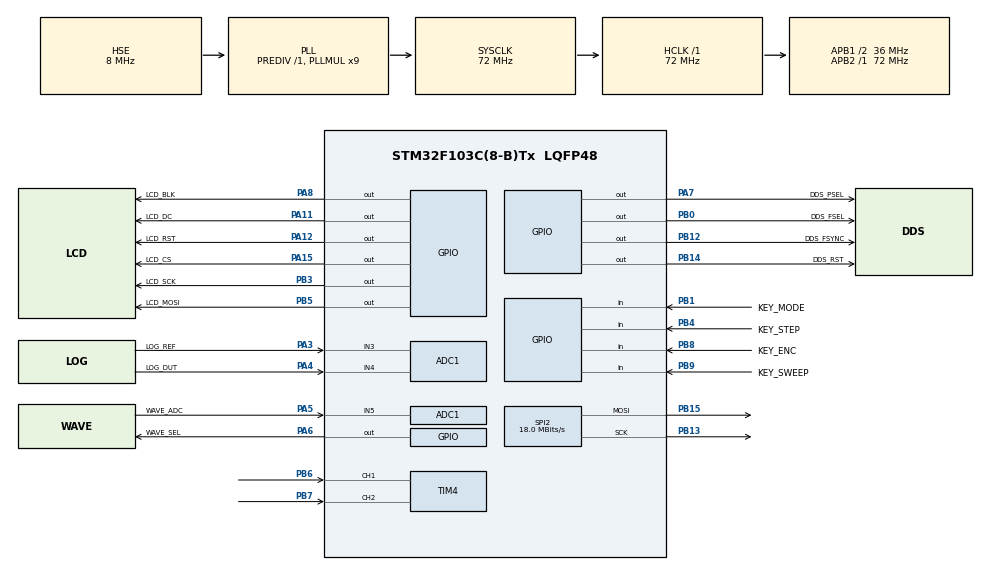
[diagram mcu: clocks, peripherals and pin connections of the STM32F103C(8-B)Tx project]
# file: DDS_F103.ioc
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ADC1.Channel-0\#ChannelRegularConversion=ADC_CHANNEL_3
ADC1.Channel-1\#ChannelRegularConversion=ADC_CHANNEL_4
ADC1.Channel-2\#ChannelRegularConversion=ADC_CHANNEL_5
ADC1.ContinuousConvMode=ENABLE
ADC1.DataAlign=ADC_DATAALIGN_RIGHT
ADC1.NbrOfConversion=3
ADC1.NbrOfConversionFlag=1
ADC1.Rank-0\#ChannelRegularConversion=1
ADC1.Rank-1\#ChannelRegularConversion=2
ADC1.Rank-2\#ChannelRegularConversion=3
ADC1.SamplingTime-0\#ChannelRegularConversion=ADC_SAMPLETIME_71CYCLES_5
ADC1.SamplingTime-1\#ChannelRegularConversion=ADC_SAMPLETIME_71CYCLES_5
ADC1.SamplingTime-2\#ChannelRegularConversion=ADC_SAMPLETIME_71CYCLES_5
ADC1.master=1
Dma.ADC1.0.Direction=DMA_PERIPH_TO_MEMORY
Dma.ADC1.0.Instance=DMA1_Channel1
Dma.ADC1.0.MemDataAlignment=DMA_MDATAALIGN_HALFWORD
Dma.ADC1.0.MemInc=DMA_MINC_ENABLE
Dma.ADC1.0.Mode=DMA_CIRCULAR
Dma.ADC1.0.PeriphDataAlignment=DMA_PDATAALIGN_HALFWORD
Dma.ADC1.0.PeriphInc=DMA_PINC_DISABLE
Dma.ADC1.0.Priority=DMA_PRIORITY_LOW
Dma.Request0=ADC1
Mcu.Family=STM32F1
Mcu.Name=STM32F103C(8-B)Tx
Mcu.Package=LQFP48
NVIC.DMA1_Channel1_IRQn=true\:0\:0\:false\:false\:true\:false\:true\:true
NVIC.PriorityGroup=NVIC_PRIORITYGROUP_4
PA11.GPIO_Label=LCD_DC
PA11.Signal=GPIO_Output
PA12.GPIO_Label=LCD_RST
PA12.Signal=GPIO_Output
PA13.Mode=Serial_Wire
PA13.Signal=SYS_JTMS-SWDIO
PA14.Mode=Serial_Wire
PA14.Signal=SYS_JTCK-SWCLK
PA15.GPIO_Label=LCD_CS
PA15.Signal=GPIO_Output
PA3.GPIO_Label=LOG_REF
PA3.Signal=ADCx_IN3
PA4.GPIO_Label=LOG_DUT
PA4.Signal=ADCx_IN4
PA5.GPIO_Label=WAVE_ADC
PA5.Signal=ADCx_IN5
PA6.GPIO_Label=WAVE_SEL
PA6.Signal=GPIO_Output
PA7.GPIO_Label=DDS_PSEL
PA7.Signal=GPIO_Output
PA8.GPIO_Label=LCD_BLK
PA8.Signal=GPIO_Output
PB0.GPIO_Label=DDS_FSEL
PB0.Signal=GPIO_Output
PB1.GPIO_Label=KEY_MODE
PB1.GPIO_PuPd=GPIO_NOPULL
PB1.Signal=GPIO_Input
PB12.GPIO_Label=DDS_FSYNC
PB12.Signal=GPIO_Output
PB13.Mode=TX_Only_Simplex_Unidirect_Master
PB13.Signal=SPI2_SCK
PB14.GPIO_Label=DDS_RST
PB14.Signal=GPIO_Output
PB15.Mode=TX_Only_Simplex_Unidirect_Master
PB15.Signal=SPI2_MOSI
PB3.GPIO_Label=LCD_SCK
PB3.Signal=GPIO_Output
PB4.GPIO_Label=KEY_STEP
PB4.GPIO_PuPd=GPIO_NOPULL
PB4.Signal=GPIO_Input
PB5.GPIO_Label=LCD_MOSI
PB5.Signal=GPIO_Output
PB6.Signal=S_TIM4_CH1
PB7.Signal=S_TIM4_CH2
PB8.GPIO_Label=KEY_ENC
PB8.GPIO_PuPd=GPIO_NOPULL
PB8.Signal=GPIO_Input
PB9.GPIO_Label=KEY_SWEEP
PB9.GPIO_PuPd=GPIO_NOPULL
PB9.Signal=GPIO_Input
PD0-OSC_IN.Mode=HSE-External-Oscillator
PD0-OSC_IN.Signal=RCC_OSC_IN
PD1-OSC_OUT.Mode=HSE-External-Oscillator
PD1-OSC_OUT.Signal=RCC_OSC_OUT
ProjectManager.HeapSize=0x200
ProjectManager.StackSize=0x1000
ProjectManager.TargetToolchain=MDK-ARM V5.32
RCC.ADCPresc=RCC_ADCPCLK2_DIV6
RCC.AHBFreq_Value=72000000
RCC.APB1CLKDivider=RCC_HCLK_DIV2
RCC.APB1Freq_Value=36000000
RCC.APB1TimFreq_Value=72000000
RCC.APB2Freq_Value=72000000
RCC.APB2TimFreq_Value=72000000
RCC.HCLKFreq_Value=72000000
RCC.PLLMUL=RCC_PLL_MUL9
RCC.PLLSourceVirtual=RCC_PLLSOURCE_HSE
RCC.SYSCLKFreq_VALUE=72000000
RCC.SYSCLKSource=RCC_SYSCLKSOURCE_PLLCLK
RCC.USBFreq_Value=72000000
SH.ADCx_IN3.0=ADC1_IN3,IN3
SH.ADCx_IN4.0=ADC1_IN4,IN4
SH.ADCx_IN5.0=ADC1_IN5,IN5
SH.S_TIM4_CH1.0=TIM4_CH1,Encoder_Interface
SH.S_TIM4_CH2.0=TIM4_CH2,Encoder_Interface
SPI2.BaudRatePrescaler=SPI_BAUDRATEPRESCALER_2
SPI2.CalculateBaudRate=18.0 MBits/s
SPI2.CLKPhase=SPI_PHASE_1EDGE
SPI2.CLKPolarity=SPI_POLARITY_HIGH
SPI2.DataSize=SPI_DATASIZE_16BIT
SPI2.Direction=SPI_DIRECTION_2LINES
SPI2.Mode=SPI_MODE_MASTER
SPI2.VirtualType=VM_MASTER
TIM4.EncoderMode=TIM_ENCODERMODE_TI12
board=custom

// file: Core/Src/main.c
/* USER CODE BEGIN Header */
/**
  ******************************************************************************
  * @file           : main.c
  * @brief          : Main program body
  ******************************************************************************
  * @attention
  *
  * Copyright (c) 2026 STMicroelectronics.
  * All rights reserved.
  *
  * This software is licensed under terms that can be found in the LICENSE file
  * in the root directory of this software component.
  * If no LICENSE file comes with this software, it is provided AS-IS.
  *
  ******************************************************************************
  */
/* USER CODE END Header */
#include "main.h"
#include "adc.h"
#include "dma.h"
#include "spi.h"
#include "tim.h"
#include "gpio.h"

/* USER CODE BEGIN Includes */
#include "project_config.h"
#include "bsp_lcd_ili9341.h"
#include "bsp_ad9834.h"
#include "bsp_input.h"
#include "bsp_adc_dma.h"
#include "app_ui.h"
#include "app_sweep_plot.h"
/* USER CODE END Includes */

void SystemClock_Config(void);

int main(void)
{

  /* MCU Configuration--------------------------------------------------------*/

  /* Reset of all peripherals, Initializes the Flash interface and the Systick. */
  HAL_Init();

  /* Configure the system clock */
  SystemClock_Config();

  /* Initialize all configured peripherals */
  MX_GPIO_Init();
  MX_DMA_Init();
  MX_ADC1_Init();
  MX_SPI2_Init();
  MX_TIM4_Init();
  /* USER CODE BEGIN 2 */
  LCD_Init();
  AD9834_Init();
  Input_Init();
  ADC_DMA_AppInit();
  Sweep_Init();
  UI_Init();
  /* USER CODE END 2 */

  /* Infinite loop */
  while (1)
  {

    /* USER CODE BEGIN 3 */
    UI_Task();
    ADC_Task();
  }
  /* USER CODE END 3 */
}

void SystemClock_Config(void)
{
  RCC_OscInitTypeDef RCC_OscInitStruct = {0};
  RCC_ClkInitTypeDef RCC_ClkInitStruct = {0};
  RCC_PeriphCLKInitTypeDef PeriphClkInit = {0};

  /** Initializes the RCC Oscillators according to the specified parameters
  * in the RCC_OscInitTypeDef structure.
  */
  RCC_OscInitStruct.OscillatorType = RCC_OSCILLATORTYPE_HSE;
  RCC_OscInitStruct.HSEState = RCC_HSE_ON;
  RCC_OscInitStruct.HSEPredivValue = RCC_HSE_PREDIV_DIV1;
  RCC_OscInitStruct.HSIState = RCC_HSI_ON;
  RCC_OscInitStruct.PLL.PLLState = RCC_PLL_ON;
  RCC_OscInitStruct.PLL.PLLSource = RCC_PLLSOURCE_HSE;
  RCC_OscInitStruct.PLL.PLLMUL = RCC_PLL_MUL9;
  if (HAL_RCC_OscConfig(&RCC_OscInitStruct) != HAL_OK)
  {
    Error_Handler();
  }

  /** Initializes the CPU, AHB and APB buses clocks
  */
  RCC_ClkInitStruct.ClockType = RCC_CLOCKTYPE_HCLK|RCC_CLOCKTYPE_SYSCLK
                              |RCC_CLOCKTYPE_PCLK1|RCC_CLOCKTYPE_PCLK2;
  RCC_ClkInitStruct.SYSCLKSource = RCC_SYSCLKSOURCE_PLLCLK;
  RCC_ClkInitStruct.AHBCLKDivider = RCC_SYSCLK_DIV1;
  RCC_ClkInitStruct.APB1CLKDivider = RCC_HCLK_DIV2;
  RCC_ClkInitStruct.APB2CLKDivider = RCC_HCLK_DIV1;

  if (HAL_RCC_ClockConfig(&RCC_ClkInitStruct, FLASH_LATENCY_2) != HAL_OK)
  {
    Error_Handler();
  }
  PeriphClkInit.PeriphClockSelection = RCC_PERIPHCLK_ADC;
  PeriphClkInit.AdcClockSelection = RCC_ADCPCLK2_DIV6;
  if (HAL_RCCEx_PeriphCLKConfig(&PeriphClkInit) != HAL_OK)
  {
    Error_Handler();
  }
}

void Error_Handler(void)
{
  __disable_irq();
  while (1)
  {
  }
}
